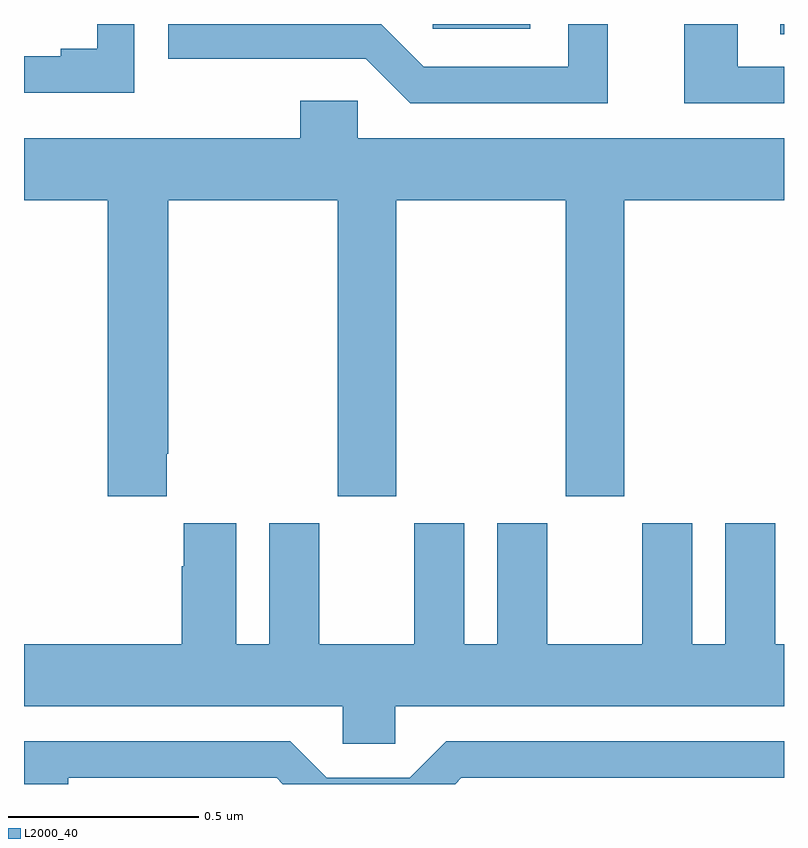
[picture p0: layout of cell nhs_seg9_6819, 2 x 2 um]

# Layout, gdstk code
import gdstk
lib = gdstk.Library(unit=1e-6, precision=1e-09)
def R(c, l, rs):  # rectangles x0, y0, x1, y1
    for r in rs: c.add(gdstk.rectangle(r[:2], r[2:], *l))
def P(c, l, *ps):  # polygons
    for p in ps: c.add(gdstk.Polygon(p, *l))
L2000_40 = (2000, 40)

nhs_seg9_6819 = lib.new_cell('nhs_seg9_6819')
R(nhs_seg9_6819, L2000_40, [(197.99,1247.473,198,1247.5), (197.076,1247.487,197.332,1247.5)])
P(nhs_seg9_6819, L2000_40, [(197.536,1247.5),(197.432,1247.5),(197.432,1247.388),(197.052,1247.388),(196.94,1247.5),(196.38,1247.5),(196.38,1247.408),(196.643,1247.408),(196.643,1247.409),(196.899,1247.409),(197.016,1247.292),(197.536,1247.292)],
  [(196.29,1247.5),(196.193,1247.5),(196.193,1247.435),(196.097,1247.435),(196.097,1247.415),(196,1247.415),(196,1247.319),(196.29,1247.319)],
  [(198,1247.388),(197.878,1247.388),(197.878,1247.5),(197.738,1247.5),(197.738,1247.292),(198,1247.292)],
  [(196.375,1246.369),(196.38,1246.369),(196.38,1247.036),(196.825,1247.036),(196.825,1246.257),(196.98,1246.257),(196.98,1247.036),(197.425,1247.036),(197.425,1246.257),(197.58,1246.257),(197.58,1247.036),(198,1247.036),(198,1247.2),(196.878,1247.2),(196.878,1247.298),(196.727,1247.298),(196.727,1247.2),(196,1247.2),(196,1247.036),(196.22,1247.036),(196.22,1246.257),(196.375,1246.257)],
  [(196.977,1245.704),(198,1245.704),(198,1245.868),(197.977,1245.868),(197.977,1246.186),(197.846,1246.186),(197.846,1245.868),(197.758,1245.868),(197.758,1246.186),(197.627,1246.186),(197.627,1245.868),(197.377,1245.868),(197.377,1246.186),(197.246,1246.186),(197.246,1245.868),(197.158,1245.868),(197.158,1246.186),(197.027,1246.186),(197.027,1245.868),(196.777,1245.868),(196.777,1246.186),(196.646,1246.186),(196.646,1245.868),(196.558,1245.868),(196.558,1246.186),(196.421,1246.186),(196.421,1246.073),(196.415,1246.073),(196.415,1245.868),(196,1245.868),(196,1245.704),(196.839,1245.704),(196.839,1245.606),(196.977,1245.606)],
  [(196.117,1245.516),(196.665,1245.516),(196.681,1245.5),(197.135,1245.5),(197.151,1245.516),(198,1245.516),(198,1245.612),(197.111,1245.612),(197.015,1245.516),(196.797,1245.516),(196.701,1245.612),(196,1245.612),(196,1245.5),(196.117,1245.5)])

lib.write_gds('nhs_seg9_6819.gds')
